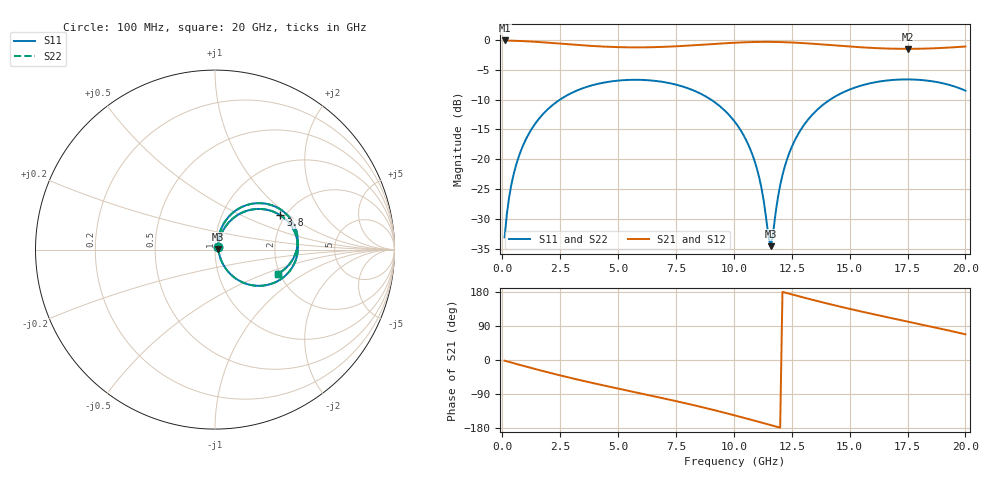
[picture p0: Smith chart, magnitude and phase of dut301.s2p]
! Touchstone file exported from HFSS 2026.1.0
!  File:  C:/ffzhzh/LocalFiles/Ansys_Project_Files/temp_train_TSV_RDL_301_1783027928_53980.aedt
!  Generated:  05:49:59 AM Jul  3, 2026
!  Design:  TSV_RDL
!  Project:  temp_train_TSV_RDL_301_1783027928_53980
! Variables:
!  h_bsmrdl = 3.87um
!  h_ox = 20um
!  h_rdl = 5um
!  h_sub = 88.39um
!  h_tmrdl = 4.82um
!  h_tsv = 88.39um
!  h_via = 3um
!  l_bsmrdl = 465.38um
!  l_sub = 4840.37um
!  l_tmrdl = 724.96um
!  m_sub = 200um
!  pitch = 51.72um
!  r_tsv = 13.95um
!  s_tmrdl = 10um
!  w_bsmrdl = 26.37um
!  w_sub = 500um
!  w_tmrdl = 21.76um
!  x_tsv_center1 = 735.84um
!  x_tsv_center2 = 1227.59um
!  x_tsv_center3 = 1974.31um
!  x_tsv_center4 = 2466.06um
!  x_tsv_center5 = 3212.78um
!  x_tsv_center6 = 3704.53um
# GHz S MA R 50.000000
! Terminal data exported
! Port[1] = TM_RDL1_1_T1
! Port[2] = TM_RDL5_1_T1
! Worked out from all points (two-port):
!   200 points, 100 MHz to 20 GHz, reference 50 ohm
!   highest |S21| = -0.14 dB at 100 MHz (marker M1); lowest = -1.5 dB at 17.5 GHz (marker M2)
!   |S21| within 3 dB of the highest: start of sweep to end of sweep
!   lowest |S11| = -34.5 dB at 11.6 GHz (marker M3), VSWR 1.04, Z = 51.9 + j0.43 ohm
!   |S11| at or under -10 dB: start of sweep to 2.495 GHz; 9.006 GHz to 14.16 GHz (5.158 GHz wide, 44.5 % of centre)
!   |S22| runs from -34.5 to -6.6 dB; largest |S21 - S12| = 1.8e-14
!   S11 on the Smith chart (normalised r, x): 100 MHz: 1.03, +0.03; 3.8 GHz: 1.89, +0.87; 20 GHz: 1.95, -0.61
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0.1  0.02241 43.7  0.9842 -1.8  0.9842 -1.8  0.02241 43.7
! Gamma 0 0 0 0
! Port Impedance 50 0 50 0
0.3  0.04903 63.9  0.9815 -5.2  0.9815 -5.2  0.04903 63.9
0.5  0.07656 67.4  0.9787 -8.6  0.9787 -8.6  0.07656 67.4
1.1  0.1579 64.1  0.9675 -18.6  0.9675 -18.6  0.1579 64.1
2.1  0.277 51.0  0.9391 -34.6  0.9391 -34.6  0.277 51.0
3.5  0.3943 31.7  0.8953 -55.1  0.8953 -55.1  0.3943 31.7
3.8  0.4116 27.7  0.8874 -59.3  0.8874 -59.3  0.4116 27.7
5.3  0.4598 8.4  0.8632 -79.3  0.8632 -79.3  0.4597 8.4
6.8  0.4476 -10.5  0.8679 -99.0  0.8679 -99.0  0.4476 -10.5
8.7  0.343 -35.5  0.9085 -125.5  0.9085 -125.5  0.343 -35.5
10.1  0.1991 -54.3  0.9437 -147.1  0.9437 -147.1  0.1991 -54.3
11  0.08327 -61.0  0.9564 -161.9  0.9564 -161.9  0.08327 -61.0
11.2  0.05679 -58.0  0.9575 -165.2  0.9575 -165.2  0.05679 -58.0
11.5  0.0222 -24.4  0.9577 -170.2  0.9577 -170.2  0.02221 -24.4
11.6  0.01889 12.7  0.9574 -171.9  0.9574 -171.9  0.01892 12.7
12  0.06077 71.7  0.9543 -178.5  0.9543 -178.5  0.06078 71.7
12.3  0.1006 74.1  0.9502 176.5  0.9502 176.5  0.1006 74.1
13.4  0.2376 63.1  0.9243 158.8  0.9243 158.8  0.2376 63.1
14.8  0.3691 44.4  0.8816 137.8  0.8816 137.8  0.3691 44.4
16.7  0.4578 20.2  0.8417 112.0  0.8417 112.0  0.4578 20.2
17.5  0.4656 10.4  0.8376 101.6  0.8376 101.6  0.4656 10.4
20  0.3753 -21.0  0.8758 67.8  0.8758 67.8  0.3753 -21.0
